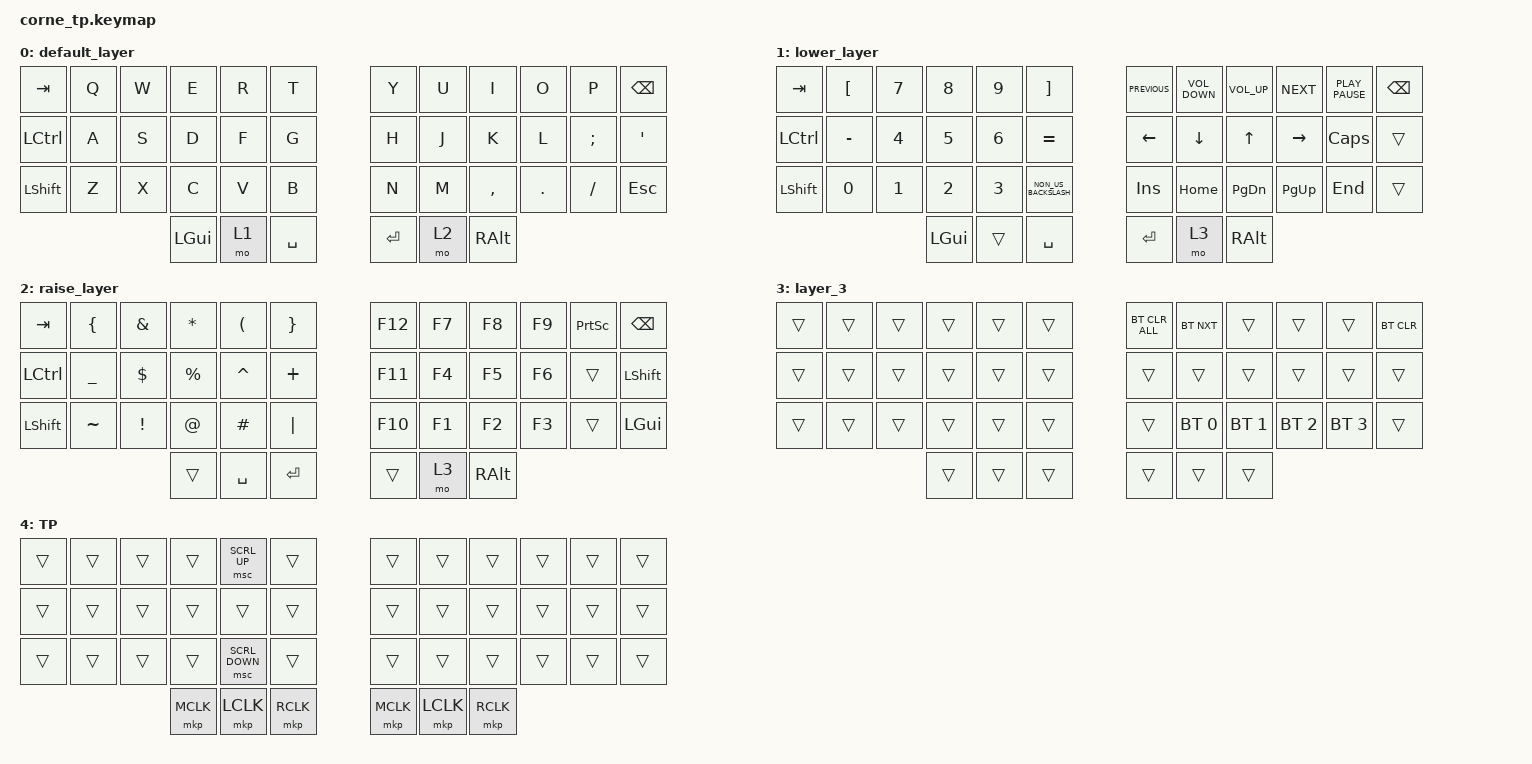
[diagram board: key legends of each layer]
/*
 * Copyright (c) 2020 The ZMK Contributors
 *
 * SPDX-License-Identifier: MIT
 */

#include <behaviors.dtsi>
#include <dt-bindings/zmk/bt.h>
#include <dt-bindings/zmk/keys.h>

#define default_layer 0
#define lower_layer 1
#define raise_layer 2
#define layer_3 3
#define MOUSE_TP 4

#define HAS_MOUSE_TP

#ifdef HAS_MOUSE_TP
  #include "include/mouse_tp.dtsi"
#endif

#ifdef HAS_MOUSE_TP
  #define U_TOG_TP_SET &tog MOUSE_TP_SET
#else
  #define U_TOG_TP_SET &none
#endif  // HAS_MOUSE_TP

/ {
    keymap {
        compatible = "zmk,keymap";

        default_layer {
            // -----------------------------------------------------------------------------------------
            // |  TAB |  Q  |  W  |  E  |  R  |  T  |   |  Y  |  U   |  I  |  O  |  P  | BSPC |
            // | CTRL |  A  |  S  |  D  |  F  |  G  |   |  H  |  J   |  K  |  L  |  ;  |  '   |
            // | SHFT |  Z  |  X  |  C  |  V  |  B  |   |  N  |  M   |  ,  |  .  |  /  | ESC  |
            //                    | GUI | LWR | SPC |   | ENT | RSE  | ALT |

            bindings = <
&kp TAB    &kp Q  &kp W  &kp E     &kp R  &kp T        &kp Y    &kp U  &kp I      &kp O    &kp P     &kp BSPC
&kp LCTRL  &kp A  &kp S  &kp D     &kp F  &kp G        &kp H    &kp J  &kp K      &kp L    &kp SEMI  &kp SQT
&kp LSHFT  &kp Z  &kp X  &kp C     &kp V  &kp B        &kp N    &kp M  &kp COMMA  &kp DOT  &kp FSLH  &kp ESC
                         &kp LGUI  &mo 1  &kp SPACE    &kp RET  &mo 2  &kp RALT
            >;
        };

        lower_layer {
            // -----------------------------------------------------------------------------------------
            // |  TAB |  1  |  2  |  3  |  4  |  5  |   |  6  |  7  |  8  |  9  |  0  | BSPC |
            // | BTCLR| BT1 | BT2 | BT3 | BT4 | BT5 |   | LFT | DWN |  UP | RGT |     |      |
            // | SHFT |     |     |     |     |     |   |     |     |     |     |     |      |
            //                    | GUI |     | SPC |   | ENT |     | ALT |

            bindings = <
&kp TAB    &kp LEFT_BRACKET  &kp NUMBER_7  &kp NUMBER_8  &kp NUMBER_9  &kp RIGHT_BRACKET       &kp K_PREVIOUS  &kp C_VOLUME_DOWN  &kp C_VOLUME_UP  &kp K_NEXT  &kp K_PLAY_PAUSE  &kp BSPC
&kp LCTRL  &kp MINUS         &kp NUMBER_4  &kp NUMBER_5  &kp NUMBER_6  &kp EQUAL               &kp LEFT        &kp DOWN           &kp UP           &kp RIGHT   &kp CAPS          &trans
&kp LSHFT  &kp N0            &kp NUMBER_1  &kp NUMBER_2  &kp NUMBER_3  &kp NON_US_BACKSLASH    &kp INSERT      &kp HOME           &kp PAGE_DOWN    &kp PG_UP   &kp END           &trans
                                           &kp LGUI      &trans        &kp SPACE               &kp RET         &mo 3              &kp RALT
            >;
        };

        raise_layer {
            // -----------------------------------------------------------------------------------------
            // |  TAB |  !  |  @  |  #  |  $  |  %  |   |  ^  |  &  |  *  |  (  |  )  | BSPC |
            // | CTRL |     |     |     |     |     |   |  -  |  =  |  [  |  ]  |  \  |  `   |
            // | SHFT |     |     |     |     |     |   |  _  |  +  |  {  |  }  | "|" |  ~   |
            //                    | GUI |     | SPC |   | ENT |     | ALT |

            bindings = <
&kp TAB    &kp LEFT_BRACE  &kp AMPS  &kp ASTRK    &kp LPAR   &kp RIGHT_BRACE    &kp F12  &kp F7  &kp F8    &kp F9  &kp PRINTSCREEN  &kp BACKSPACE
&kp LCTRL  &kp UNDERSCORE  &kp DLLR  &kp PERCENT  &kp CARET  &kp PLUS           &kp F11  &kp F4  &kp F5    &kp F6  &trans           &kp LSHFT
&kp LSHFT  &kp TILDE       &kp EXCL  &kp AT       &kp HASH   &kp PIPE           &kp F10  &kp F1  &kp F2    &kp F3  &trans           &kp LGUI
                                     &trans       &kp SPACE  &kp RET            &trans   &mo 3   &kp RALT
            >;
        };

        layer_3 {
            bindings = <
&trans  &trans  &trans  &trans  &trans  &trans    &bt BT_CLR_ALL  &bt BT_NXT    &trans        &trans        &trans        &bt BT_CLR
&trans  &trans  &trans  &trans  &trans  &trans    &trans          &trans        &trans        &trans        &trans        &trans
&trans  &trans  &trans  &trans  &trans  &trans    &trans          &bt BT_SEL 0  &bt BT_SEL 1  &bt BT_SEL 2  &bt BT_SEL 3  &trans
                        &trans  &trans  &trans    &trans          &trans        &trans
            >;
        };
#ifdef HAS_MOUSE_TP
    
        // Automatically activated when the mouse or trackpoint moves.
        // Configured in `include/mouse_tp.dtsi`.
  MouseTP_layer {
          display-name = "TP";
          bindings = <
&trans &trans &trans                   &trans                   &msc SCRL_UP             &trans                        &trans                   &trans                   &trans                   &trans                   &trans &trans
&trans                   &trans                   &trans                   &trans                   &trans                   &trans                        &trans                   &trans                   &trans                   &trans                   &trans                    &trans         
&trans                   &trans                   &trans                   &trans                   &msc SCRL_DOWN           &trans                        &trans                   &trans                   &trans                   &trans                   &trans                    &trans
&mkp MCLK                &mkp LCLK                &mkp RCLK                     &mkp MCLK                &mkp LCLK                &mkp RCLK
          >;
        };
    
        // You can find the defines for the actual key press behaviors in `include/mouse_tp.dtsi`.
        /*
MouseSettings_layer {
          display-name = "TP Set";
          bindings = <
U_TOG_TP_SET             U_TOG_TP_SET             &none                    U_MSS_TP_S_D             U_MSS_TP_S_I             U_MSS_TP_PT_I                 U_MSS_TP_PT_I            U_MSS_TP_S_D             U_MSS_TP_S_I             &none                    U_TOG_TP_SET              U_TOG_TP_SET
U_MSS_RESET              U_MSS_RESET              &none                    U_MSS_TP_NI_D            U_MSS_TP_NI_I            U_MSS_TP_PT_D                 U_MSS_TP_PT_D            U_MSS_TP_NI_D            U_MSS_TP_NI_I            &none                    U_MSS_RESET               U_MSS_RESET
U_MSS_LOG                U_MSS_LOG                &none                    U_MSS_TP_V6_D            U_MSS_TP_V6_I            &none                         &none                    U_MSS_TP_V6_D            U_MSS_TP_V6_I            &none                    U_MSS_LOG                 U_MSS_LOG
&trans                   &mkp LCLK                &mkp RCLK                     &none                    &mkp LCLK                &mkp RCLK
          >;
        };
        */
#endif
    };
};
